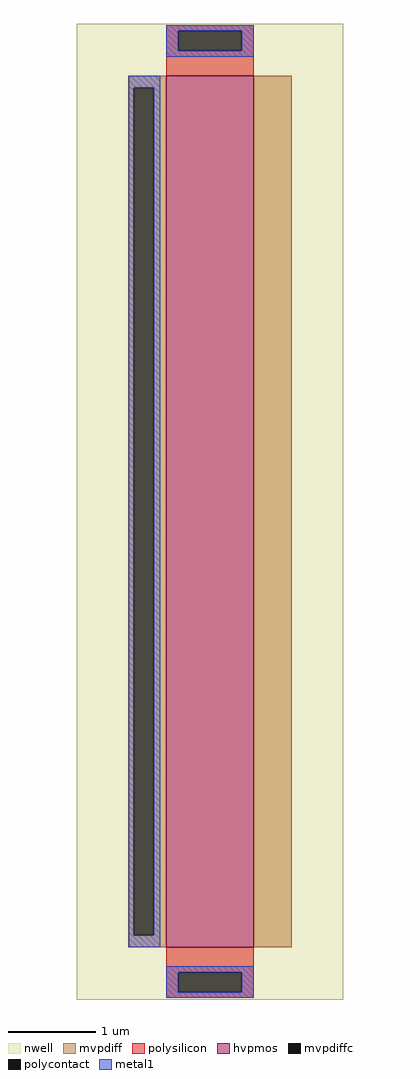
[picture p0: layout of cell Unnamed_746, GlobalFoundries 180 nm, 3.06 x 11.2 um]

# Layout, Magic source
magic
tech gf180mcuD
magscale 1 10
<< nwell >>
rect -192 -120 420 2120
<< hvpmos >>
rect 14 0 214 2000
<< mvpdiff >>
rect -74 1973 14 2000
rect -74 27 -61 1973
rect -15 27 14 1973
rect -74 0 14 27
rect 214 0 302 2000
<< mvpdiffc >>
rect -61 27 -15 1973
<< polysilicon >>
rect 14 2103 214 2116
rect 14 2057 41 2103
rect 187 2057 214 2103
rect 14 2000 214 2057
rect 14 -57 214 0
rect 14 -103 41 -57
rect 187 -103 214 -57
rect 14 -116 214 -103
<< polycontact >>
rect 41 2057 187 2103
rect 41 -103 187 -57
<< metal1 >>
rect 14 2103 214 2116
rect 14 2057 41 2103
rect 187 2057 214 2103
rect 14 2044 214 2057
rect -72 1973 0 2000
rect -72 27 -61 1973
rect -15 27 0 1973
rect -72 0 0 27
rect 14 -57 214 -44
rect 14 -103 41 -57
rect 187 -103 214 -57
rect 14 -116 214 -103
<< end >>
